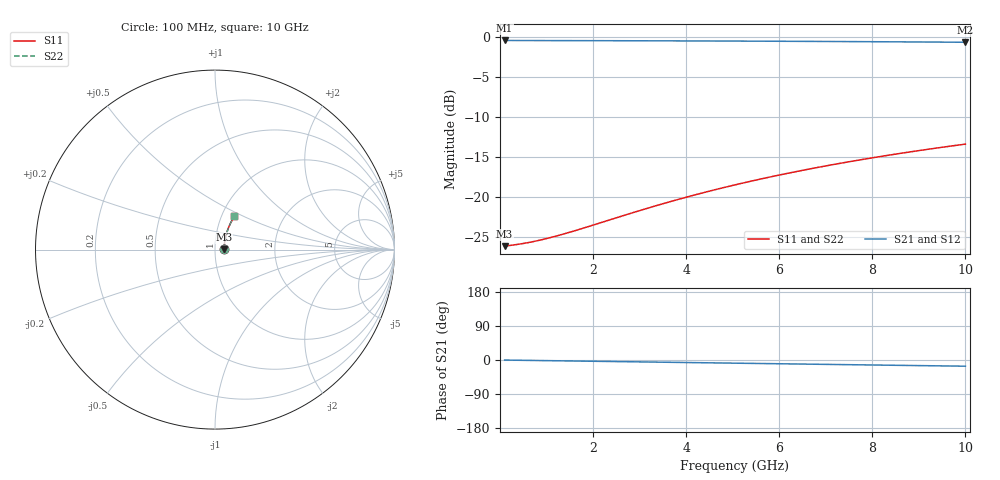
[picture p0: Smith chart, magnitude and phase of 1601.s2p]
# Hz S RI R 50.00
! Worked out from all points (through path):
!   100 points, 100 MHz to 10 GHz, reference 50 ohm
!   highest |S21| = -0.44 dB at 100 MHz (marker M1); lowest = -0.7 dB at 10 GHz (marker M2)
!   group delay of S21, straight-line fit = 4.55 ps
!   lowest |S11| = -26.1 dB at 100 MHz (marker M3), VSWR 1.10, Z = 55.2 + j0.222 ohm
!   |S11| at or under -10 dB: start of sweep to end of sweep
!   |S22| runs from -26.1 to -13.4 dB; largest |S21 - S12| = 0
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1e8  0.0494 0.002  0.9506 -0.00276  0.9506 -0.00276  0.0494 0.002
3e8  0.05 0.006  0.95 -0.00828  0.95 -0.00828  0.05 0.006
5e8  0.0504 0.01  0.9496 -0.0138  0.9496 -0.0138  0.0504 0.01
7e8  0.0508 0.014  0.9492 -0.0193  0.9492 -0.0193  0.0508 0.014
9e8  0.0512 0.018  0.9488 -0.0248  0.9488 -0.0248  0.0512 0.018
1.1e9  0.0516 0.0219  0.9484 -0.0303  0.9484 -0.0303  0.0516 0.0219
1.3e9  0.052 0.0259  0.9479 -0.0358  0.9479 -0.0358  0.052 0.0259
1.8e9  0.0532 0.0358  0.9467 -0.0495  0.9467 -0.0495  0.0532 0.0358
2.8e9  0.0563 0.0555  0.9434 -0.0767  0.9434 -0.0767  0.0563 0.0555
3.4e9  0.0587 0.0671  0.9409 -0.0929  0.9409 -0.0929  0.0587 0.0671
3.8e9  0.0605 0.0748  0.9391 -0.1037  0.9391 -0.1037  0.0605 0.0748
4.2e9  0.0624 0.0825  0.937 -0.1144  0.937 -0.1144  0.0624 0.0825
4.6e9  0.0645 0.0901  0.9348 -0.125  0.9348 -0.125  0.0645 0.0901
5.1e9  0.0674 0.0995  0.9318 -0.1382  0.9318 -0.1382  0.0674 0.0995
5.5e9  0.0699 0.107  0.9292 -0.1487  0.9292 -0.1487  0.0699 0.107
5.9e9  0.0725 0.1144  0.9264 -0.1592  0.9264 -0.1592  0.0725 0.1144
6.3e9  0.0753 0.1217  0.9235 -0.1695  0.9235 -0.1695  0.0753 0.1217
6.7e9  0.0783 0.1289  0.9204 -0.1798  0.9204 -0.1798  0.0783 0.1289
7.5e9  0.0846 0.1431  0.9137 -0.2001  0.9137 -0.2001  0.0846 0.1431
8.4e9  0.0925 0.1586  0.9053 -0.2224  0.9053 -0.2224  0.0925 0.1586
9.2e9  0.1001 0.172  0.8973 -0.2419  0.8973 -0.2419  0.1001 0.172
1e10  0.1083 0.1849  0.8887 -0.2609  0.8887 -0.2609  0.1083 0.1849
